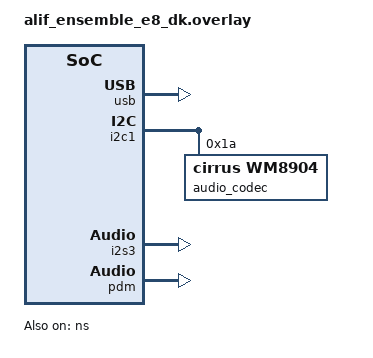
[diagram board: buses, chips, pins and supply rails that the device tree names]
/*
 * Copyright (c) 2026 Alif Semiconductor.
 * SPDX-License-Identifier: Apache-2.0
 */

#include <dt-bindings/misc/alif_aipm_common.h>

&aipm_run_default {
	phy-pwr-gating = <ALIF_PHY_GATE_USB_MASK>;
};

ns: &ns {
	status = "okay";
};

zephyr_udc0: &usb {
	status = "okay";
};

&i2c1 {
	status = "okay";

	audio_codec: wm8904@1a {
		compatible = "cirrus,wm8904";
		reg = <0x1a>;
		status = "okay";
	};
};

i2s_rxtx: &i2s3 {
	status = "okay";
	/*
	 * High-Speed packets carry 5 to 7 stereo frames. The default
	 * watermark of 8 leaves the TX-empty interrupt asserted after one
	 * packet, so the ISR drains the queue and latches ERROR.
	 */
	tx-fifo-watermark = <2>;
};

&uac2_headset {
	high-speed;
};

/ {
	aliases {
		audio-codec = &audio_codec;
		i2s-codec-tx = &i2s3;
	};
};


&pdm {
	status = "okay";
};

/ {
	aliases {
		pdm-audio = &pdm;
	};
};
